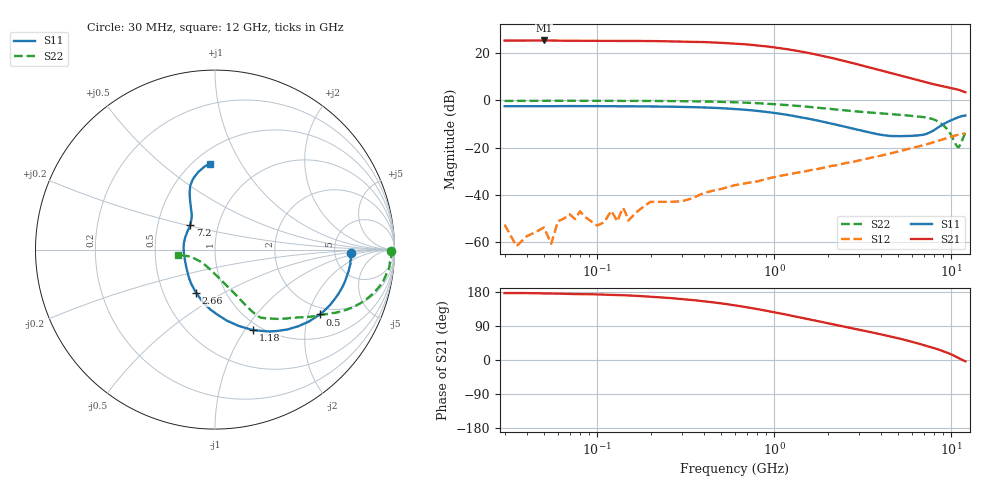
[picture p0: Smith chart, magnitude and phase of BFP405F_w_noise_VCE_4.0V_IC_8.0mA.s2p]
! Infineon Technologies  Discrete & RF Semiconductors
! BFP405F
! VCE =  4.0 V,  IC =  8.0 mA
! Common Emitter S-Parameters:  Nov 2015
# GHz  S  MA  R  50
!  f  S11  S21  S12  S22
! GHz  MAG  ANG  MAG  ANG  MAG  ANG  MAG  ANG
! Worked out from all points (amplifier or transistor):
!   239 points, 30 MHz to 12 GHz, reference 50 ohm
!   highest |S21| = 25.5 dB at 50 MHz (marker M1)
!   |S21| within 3 dB of that: start of sweep to 1.015 GHz
!   unconditionally stable (mu >= 1): 34.24 MHz to 36.32 MHz; 2.564 GHz to end of sweep
!   at 300 MHz: K = 0.13, MSG = 34.0 dB, |S12| = -42.9 dB
!   at 1.88 GHz: K = 0.81, MSG = 23.8 dB, |S12| = -28.7 dB
!   at 12 GHz: K = 1.40, MAG = 5.0 dB, |S12| = -14.0 dB
!   lowest NFmin = 1.52 dB at 450 MHz
!   S11 on the Smith chart (normalised r, x): 30 MHz: 7.16, -0.62; 500 MHz: 1.74, -2.38; 1.18 GHz: 0.92, -1.09; 2.66 GHz: 0.73, -0.38; 7.2 GHz: 0.73, +0.21; 12 GHz: 0.60, +0.74
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0.03  0.7565 -1.4  18.73 176.7  0.0023 65.7  0.9787 -0.5
0.035  0.7553 -1.7  18.72 176.6  0.0008 32.3  0.9793 -0.7
0.05  0.7539 -3.3  18.86 175.6  0.002 -34.9  0.9799 -1.2
0.055  0.7558 -3.4  18.75 175.4  0.0009 55.1  0.9836 -1.3
0.06  0.7577 -3.5  18.63 175.2  0.0027 102.9  0.9874 -1.3
0.085  0.7574 -5.4  18.56 173.6  0.0034 63.3  0.9836 -2.1
0.13  0.7552 -8.6  18.41 171.2  0.0027 102.6  0.981 -3.5
0.14  0.7533 -9.4  18.46 171.0  0.0052 88.7  0.9798 -3.7
0.15  0.7523 -9.9  18.45 170.4  0.0028 79.8  0.9768 -4.1
0.24  0.7413 -15.7  18.13 164.6  0.007 78.0  0.9735 -6.6
0.34  0.7233 -22.0  17.69 158.6  0.0082 74.4  0.9606 -9.0
0.5  0.6872 -31.7  16.81 149.5  0.0131 74.1  0.9348 -13.2
0.6  0.6592 -37.4  16.16 144.1  0.0159 76.4  0.9164 -15.3
0.9  0.5723 -52.5  14.14 130.0  0.0215 70.4  0.8549 -20.9
1.18  0.4957 -64.6  12.3 119.3  0.0264 67.3  0.7992 -25.0
1.64  0.3947 -81.6  9.848 105.6  0.0334 66.3  0.7202 -29.9
2.1  0.3227 -97.1  8.063 95.0  0.0405 64.0  0.658 -34.4
2.66  0.2621 -113.6  6.481 85.1  0.0482 62.6  0.6028 -38.8
4.5  0.1773 -162.1  3.857 62.6  0.0744 58.5  0.5158 -48.4
7.2  0.1938 135.7  2.426 37.5  0.1159 49.7  0.4331 -57.5
10.8  0.4303 104.1  1.715 7.0  0.1846 31.3  0.1039 -117.3
12  0.4785 93.4  1.495 -3.4  0.1995 24.4  0.2056 -171.9
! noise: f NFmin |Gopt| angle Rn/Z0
0.45  1.52  0.27  6  0.33
0.9  1.54  0.24  12  0.32
1.5  1.6  0.23  17  0.29
1.9  1.63  0.21  23  0.3
2.4  1.77  0.2  31  0.33
3  1.84  0.18  45  0.31
3.5  1.9  0.16  52  0.3
4.5  2.05  0.13  55  0.2
5.5  2.24  0.07  59  0.06
